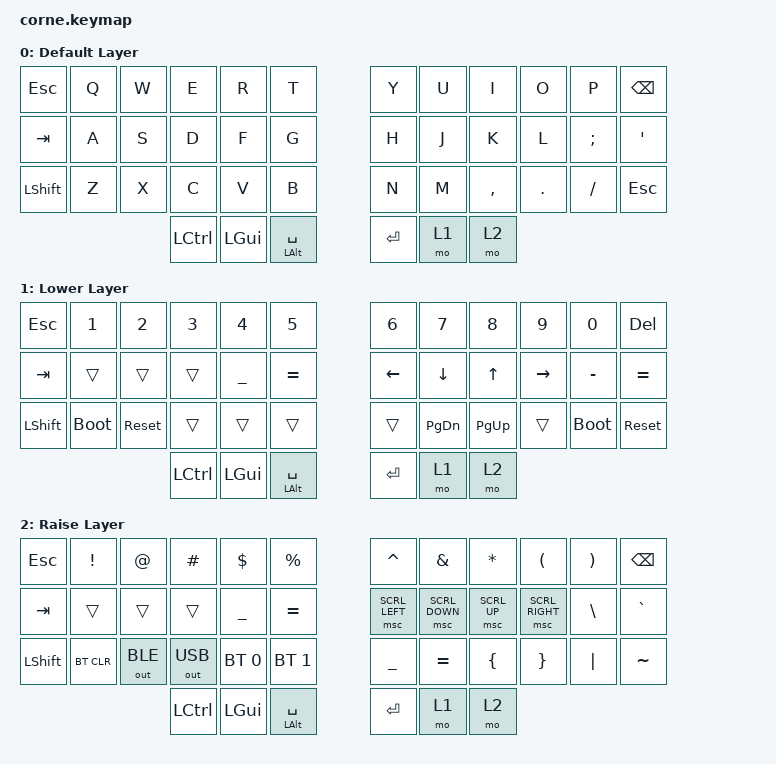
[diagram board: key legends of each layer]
/*
 * Copyright (c) 2020 The ZMK Contributors
 *
 * SPDX-License-Identifier: MIT
 */

#include <behaviors.dtsi>
#include <dt-bindings/zmk/keys.h>
#include <dt-bindings/zmk/bt.h>
#include <dt-bindings/zmk/outputs.h>
#include <dt-bindings/zmk/pointing.h>

/ {
        keymap {
                compatible = "zmk,keymap";

                default_layer {
                        display-name = "Default Layer";
// -----------------------------------------------------------------------------------------
// |  TAB |  Q  |  W  |  E  |  R  |  T  |   |  Y  |  U   |  I  |  O  |  P  | BSPC |
// | CTRL |  A  |  S  |  D  |  F  |  G  |   |  H  |  J   |  K  |  L  |  ;  |  '   |
// | SHFT |  Z  |  X  |  C  |  V  |  B  |   |  N  |  M   |  ,  |  .  |  /  |      |
//                    | GUI | LWR | SPC |   | ENT | RSE  | ALT |
                        bindings = <
   &kp ESC   &kp Q &kp W &kp E &kp R &kp T   &kp Y &kp U  &kp I     &kp O   &kp P    &kp BSPC
   &kp TAB &kp A &kp S &kp D &kp F &kp G   &kp H &kp J  &kp K     &kp L   &kp SEMI &kp SQT
   &kp LSHFT &kp Z &kp X &kp C &kp V &kp B   &kp N &kp M  &kp COMMA &kp DOT &kp FSLH &kp ESC
                  &kp LCTRL &kp LGUI &mt LALT SPACE   &kp RET &mo 1 &mo 2 
                        >;
                };
                lower_layer {
                        display-name = "Lower Layer";
// -----------------------------------------------------------------------------------------
// |  TAB |  1  |  2  |  3  |  4  |  5  |   |  6  |  7  |  8  |  9  |  0  | BSPC |
// | BTCLR| BT1 | BT2 | USB | BT  | BT3 |   | LFT | DWN |  UP | RGT |  -  |  =   |
// | SHFT | BTLD| RST |     |     |     |   |     |     |     |     | BTLD| RST  |
//                    | GUI |     | SPC |   | ENT |     | ALT |
                        bindings = <
   &kp ESC    &kp N1       &kp N2       &kp N3       &kp N4       &kp N5            &kp N6   &kp N7   &kp N8 &kp N9    &kp N0 &kp DEL
   &kp TAB &trans   &trans &trans &kp UNDER &kp EQUAL     &kp LEFT &kp DOWN &kp UP &kp RIGHT &kp MINUS &kp EQUAL
   &kp LSHFT  &bootloader  &sys_reset    &trans       &trans       &trans           &trans   &kp PAGE_DOWN  &kp PAGE_UP &trans  &bootloader  &sys_reset
                  &kp LCTRL &kp LGUI &mt LALT SPACE   &kp RET &mo 1 &mo 2 
                        >;
                };

                raise_layer {
                        display-name = "Raise Layer";
// -----------------------------------------------------------------------------------------
// |  TAB |  !  |  @  |  #  |  $  |  %  |   |  ^  |  &  |  *  |  (  |  )  | BSPC |
// | CTRL |     |     |     |  _  |  =  |   |  -  |  =  |  [  |  ]  |  \  |  `   |
// | SHFT |     |     |     |     |     |   |  _  |  =  |  {  |  }  | "|" |  ~   |
//                    | GUI |     | SPC |   | ENT |     | ALT |
                        bindings = <
   &kp  ESC  &kp EXCL &kp AT &kp HASH &kp DLLR &kp PRCNT   &kp CARET &kp AMPS  &kp ASTRK &kp LPAR &kp RPAR &kp BSPC
   &kp TAB &trans   &trans &trans &kp UNDER &kp EQUAL    &msc SCRL_LEFT &msc SCRL_DOWN &msc SCRL_UP &msc SCRL_RIGHT &kp BSLH &kp GRAVE
   &kp LSHFT &bt BT_CLR &out OUT_BLE &out OUT_USB &bt BT_SEL 0 &bt BT_SEL 1    &kp UNDER &kp EQUAL  &kp LBRC  &kp RBRC &kp PIPE &kp TILDE
                  &kp LCTRL &kp LGUI &mt LALT SPACE   &kp RET &mo 1 &mo 2 
                        >;
                };
        };
	combos {
        	compatible = "zmk,combos";
        	combo_tilde {
            		timeout-ms = <50>;
            		key-positions = <0 12>;
            		bindings = <&kp TILDE>;
        	};
        	combo_grave {
            		timeout-ms = <50>;
            		key-positions = <12 18>;
            		bindings = <&kp GRAVE>;
        	};
        	combo_plus {
            		timeout-ms = <50>;
            		key-positions = <2 3>;
            		bindings = <&kp PLUS>;
        	};
        	combo_minus {
            		timeout-ms = <50>;
            		key-positions = <3 4>;
            		bindings = <&kp MINUS>;
        	};
        	combo_underscore {
            		timeout-ms = <50>;
            		key-positions = <7 8>;
            		bindings = <&kp UNDER>;
        	};
        	combo_quotes {
            		timeout-ms = <50>;
            		key-positions = <15 16>;
            		bindings = <&kp DQT>;
        	};
        	combo_o_brace {
            		timeout-ms = <50>;
            		key-positions = <16 17>;
            		bindings = <&kp LEFT_BRACE>;
        	};
        	combo_c_brace {
            		timeout-ms = <50>;
            		key-positions = <18 19>;
            		bindings = <&kp RIGHT_BRACE>;
        	};
        	combo_o_bracket {
            		timeout-ms = <50>;
            		key-positions = <28 29>;
            		bindings = <&kp LEFT_BRACKET>;
        	};
        	combo_c_bracket {
            		timeout-ms = <50>;
            		key-positions = <30 31>;
            		bindings = <&kp RIGHT_BRACKET>;
        	};
        	combo_pipe {
            		timeout-ms = <50>;
            		key-positions = <8 9>;
            		bindings = <&kp PIPE>;
        	};
        	combo_single_quote {
            		timeout-ms = <50>;
            		key-positions = <19 20>;
            		bindings = <&kp SQT>;
        	};
        	combo_ampersand {
            		timeout-ms = <50>;
            		key-positions = <14 15>;
            		bindings = <&kp AMPS>;
        	};
        	combo_asterix {
            		timeout-ms = <50>;
            		key-positions = <13 14>;
            		bindings = <&kp STAR>;
        	};
        	combo_o_parenthesis {
            		timeout-ms = <50>;
            		key-positions = <4 5>;
            		bindings = <&kp LEFT_PARENTHESIS>;
        	};
        	combo_c_parenthesis {
            		timeout-ms = <50>;
            		key-positions = <6 7>;
            		bindings = <&kp RIGHT_PARENTHESIS>;
        	};
        };
};
